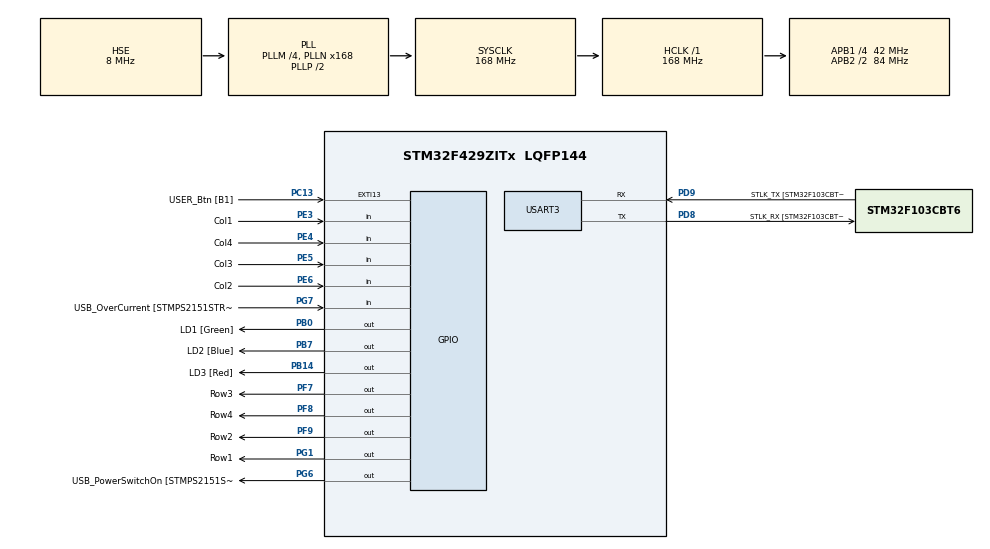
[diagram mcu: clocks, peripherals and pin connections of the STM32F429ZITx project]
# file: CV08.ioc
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Mcu.Family=STM32F4
Mcu.Name=STM32F429ZITx
Mcu.Package=LQFP144
NVIC.PriorityGroup=NVIC_PRIORITYGROUP_4
NVIC.TIM3_IRQn=true\:0\:0\:false\:false\:true\:true\:true\:true
PA1.GPIO_Label=RMII_REF_CLK [LAN8742A-CZ-TR_REFCLK0]
PA1.Signal=ETH_REF_CLK
PA10.GPIO_Label=USB_ID
PA10.Signal=USB_OTG_FS_ID
PA11.GPIO_Label=USB_DM
PA11.Signal=USB_OTG_FS_DM
PA12.GPIO_Label=USB_DP
PA12.Signal=USB_OTG_FS_DP
PA13.GPIO_Label=TMS
PA13.Mode=Serial_Wire
PA13.Signal=SYS_JTMS-SWDIO
PA14.GPIO_Label=TCK
PA14.Mode=Serial_Wire
PA14.Signal=SYS_JTCK-SWCLK
PA2.GPIO_Label=RMII_MDIO [LAN8742A-CZ-TR_MDIO]
PA2.Signal=ETH_MDIO
PA7.GPIO_Label=RMII_CRS_DV [LAN8742A-CZ-TR_CRS_DV]
PA7.Signal=ETH_CRS_DV
PA8.GPIO_Label=USB_SOF [TP1]
PA8.Signal=USB_OTG_FS_SOF
PA9.GPIO_Label=USB_VBUS
PA9.Signal=USB_OTG_FS_VBUS
PB0.GPIO_Label=LD1 [Green]
PB0.Signal=GPIO_Output
PB13.GPIO_Label=RMII_TXD1 [LAN8742A-CZ-TR_TXD1]
PB13.Signal=ETH_TXD1
PB14.GPIO_Label=LD3 [Red]
PB14.Signal=GPIO_Output
PB7.GPIO_Label=LD2 [Blue]
PB7.Signal=GPIO_Output
PC1.GPIO_Label=RMII_MDC [LAN8742A-CZ-TR_MDC]
PC1.Signal=ETH_MDC
PC13.GPIO_Label=USER_Btn [B1]
PC13.Signal=GPXTI13
PC14/OSC32_IN.Mode=LSE-External-Oscillator
PC14/OSC32_IN.Signal=RCC_OSC32_IN
PC15/OSC32_OUT.Mode=LSE-External-Oscillator
PC15/OSC32_OUT.Signal=RCC_OSC32_OUT
PC4.GPIO_Label=RMII_RXD0 [LAN8742A-CZ-TR_RXD0]
PC4.Signal=ETH_RXD0
PC5.GPIO_Label=RMII_RXD1 [LAN8742A-CZ-TR_RXD1]
PC5.Signal=ETH_RXD1
PD8.GPIO_Label=STLK_RX [STM32F103CBT6_PA3]
PD8.Mode=Asynchronous
PD8.Signal=USART3_TX
PD9.GPIO_Label=STLK_TX [STM32F103CBT6_PA2]
PD9.Mode=Asynchronous
PD9.Signal=USART3_RX
PE3.GPIO_Label=Col1
PE3.GPIO_PuPd=GPIO_PULLUP
PE3.Signal=GPIO_Input
PE4.GPIO_Label=Col4
PE4.GPIO_PuPd=GPIO_PULLUP
PE4.Signal=GPIO_Input
PE5.GPIO_Label=Col3
PE5.GPIO_PuPd=GPIO_PULLUP
PE5.Signal=GPIO_Input
PE6.GPIO_Label=Col2
PE6.GPIO_PuPd=GPIO_PULLUP
PE6.Signal=GPIO_Input
PF7.GPIO_Label=Row3
PF7.GPIO_ModeDefaultOutputPP=GPIO_MODE_OUTPUT_OD
PF7.GPIO_PuPd=GPIO_NOPULL
PF7.Signal=GPIO_Output
PF8.GPIO_Label=Row4
PF8.GPIO_ModeDefaultOutputPP=GPIO_MODE_OUTPUT_OD
PF8.GPIO_PuPd=GPIO_NOPULL
PF8.Signal=GPIO_Output
PF9.GPIO_Label=Row2
PF9.GPIO_ModeDefaultOutputPP=GPIO_MODE_OUTPUT_OD
PF9.GPIO_PuPd=GPIO_NOPULL
PF9.Signal=GPIO_Output
PG1.GPIO_Label=Row1
PG1.GPIO_ModeDefaultOutputPP=GPIO_MODE_OUTPUT_OD
PG1.GPIO_PuPd=GPIO_NOPULL
PG1.Signal=GPIO_Output
PG11.GPIO_Label=RMII_TX_EN [LAN8742A-CZ-TR_TXEN]
PG11.Signal=ETH_TX_EN
PG13.GPIO_Label=RMII_TXD0 [LAN8742A-CZ-TR_TXD0]
PG13.Signal=ETH_TXD0
PG6.GPIO_Label=USB_PowerSwitchOn [STMPS2151STR_EN]
PG6.Signal=GPIO_Output
PG7.GPIO_Label=USB_OverCurrent [STMPS2151STR_FAULT]
PG7.Signal=GPIO_Input
PH0/OSC_IN.GPIO_Label=MCO [STM32F103CBT6_PA8]
PH0/OSC_IN.Mode=HSE-External-Clock-Source
PH0/OSC_IN.Signal=RCC_OSC_IN
PH1/OSC_OUT.Mode=HSE-External-Clock-Source
PH1/OSC_OUT.Signal=RCC_OSC_OUT
ProjectManager.HeapSize=0x200
ProjectManager.StackSize=0x400
ProjectManager.TargetToolchain=STM32CubeIDE
RCC.48MHZClocksFreq_Value=48000000
RCC.AHBFreq_Value=168000000
RCC.APB1CLKDivider=RCC_HCLK_DIV4
RCC.APB1Freq_Value=42000000
RCC.APB1TimFreq_Value=84000000
RCC.APB2CLKDivider=RCC_HCLK_DIV2
RCC.APB2Freq_Value=84000000
RCC.APB2TimCLKDivider=2
RCC.APB2TimFreq_Value=168000000
RCC.CortexFreq_Value=168000000
RCC.HCLKFreq_Value=168000000
RCC.HSE_VALUE=8000000
RCC.HSI_VALUE=16000000
RCC.PLLM=4
RCC.PLLMUL=RCC_PLL_MUL9
RCC.PLLN=168
RCC.PLLQ=7
RCC.PLLSourceVirtual=RCC_PLLSOURCE_HSE
RCC.PRESCALERUSB=RCC_USBCLKSOURCE_PLL_DIV1_5
RCC.SYSCLKFreq_VALUE=168000000
RCC.SYSCLKSource=RCC_SYSCLKSOURCE_PLLCLK
RCC.SYSCLKSourceVirtual=RCC_SYSCLKSOURCE_PLLCLK
RCC.USBFreq_Value=48000000
RCC.VCOOutputFreq_Value=336000000
TIM3.AutoReloadPreload=TIM_AUTORELOAD_PRELOAD_ENABLE
TIM3.Period=99
TIM3.Prescaler=8399
USART3.VirtualMode=VM_ASYNC
VP_TIM3_VS_ClockSourceINT.Mode=Internal
board=NUCLEO-F429ZI

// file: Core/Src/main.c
/* USER CODE BEGIN Header */
/**
 ******************************************************************************
 * @file           : main.c
 * @brief          : Main program body
 ******************************************************************************
 * @attention
 *
 * Copyright (c) 2024 STMicroelectronics.
 * All rights reserved.
 *
 * This software is licensed under terms that can be found in the LICENSE file
 * in the root directory of this software component.
 * If no LICENSE file comes with this software, it is provided AS-IS.
 *
 ******************************************************************************
 */
/* USER CODE END Header */
#include "main.h"

/* USER CODE BEGIN Includes */
#include <stdio.h>
/* USER CODE END Includes */

TIM_HandleTypeDef htim3;

UART_HandleTypeDef huart3;

/* USER CODE BEGIN PV */
static volatile char key;
static volatile char password[5] =  { '7', '9', '3', '2', '#' };
/* USER CODE END PV */

void SystemClock_Config(void);
static void MX_GPIO_Init(void);
static void MX_USART3_UART_Init(void);
static void MX_TIM3_Init(void);

/* USER CODE BEGIN 0 */
int __io_putchar(int ch)
{
	ITM_SendChar(ch);
	return 0;
}
/* USER CODE END 0 */

int main(void)
{

	/* MCU Configuration--------------------------------------------------------*/

	/* Reset of all peripherals, Initializes the Flash interface and the Systick. */
	HAL_Init();

	/* Configure the system clock */
	SystemClock_Config();

	/* Initialize all configured peripherals */
	MX_GPIO_Init();
	MX_USART3_UART_Init();
	MX_TIM3_Init();
	/* USER CODE BEGIN 2 */
	HAL_TIM_Base_Start_IT(&htim3);
	printf("rReady for password\n");
	/* USER CODE END 2 */

	/* Infinite loop */
	while (1)
	{

		/* USER CODE BEGIN 3 */

		static uint8_t pass_pos;
		static uint8_t entries;
		static uint32_t delay = 0;

		if (key != 0)
		{
			entries++;
			printf("Pressed '%c'\n", key);
			HAL_Delay(250);
			delay = HAL_GetTick();

			if (key == password[pass_pos])
			{
				pass_pos++;
			}
			else
			{
				pass_pos = 0;
			}

			if (entries >= sizeof(password) && pass_pos < sizeof(password)-1)
			{
				printf("Password incorrect :(  Try again.\n");
				entries = 0;
			}

			if (pass_pos >= sizeof(password))
			{
				printf("Password correct!\n");
				HAL_GPIO_WritePin(LD1_GPIO_Port, LD1_Pin, 1);
				HAL_Delay(1000);
				HAL_GPIO_WritePin(LD1_GPIO_Port, LD1_Pin, 0);
				pass_pos = 0;
				entries = 0;
			}
			key = 0;
		}

		if ((HAL_GetTick() > delay + 3000) && (entries != 0))
		{
			printf("Timeout - Password reseted\n");
			pass_pos = 0;
			entries = 0;
		}

	}
	/* USER CODE END 3 */
}

void SystemClock_Config(void)
{
	RCC_OscInitTypeDef RCC_OscInitStruct = {0};
	RCC_ClkInitTypeDef RCC_ClkInitStruct = {0};

	/** Configure the main internal regulator output voltage
	 */
	__HAL_RCC_PWR_CLK_ENABLE();
	__HAL_PWR_VOLTAGESCALING_CONFIG(PWR_REGULATOR_VOLTAGE_SCALE1);

	/** Initializes the RCC Oscillators according to the specified parameters
	 * in the RCC_OscInitTypeDef structure.
	 */
	RCC_OscInitStruct.OscillatorType = RCC_OSCILLATORTYPE_HSE;
	RCC_OscInitStruct.HSEState = RCC_HSE_BYPASS;
	RCC_OscInitStruct.PLL.PLLState = RCC_PLL_ON;
	RCC_OscInitStruct.PLL.PLLSource = RCC_PLLSOURCE_HSE;
	RCC_OscInitStruct.PLL.PLLM = 4;
	RCC_OscInitStruct.PLL.PLLN = 168;
	RCC_OscInitStruct.PLL.PLLP = RCC_PLLP_DIV2;
	RCC_OscInitStruct.PLL.PLLQ = 7;
	if (HAL_RCC_OscConfig(&RCC_OscInitStruct) != HAL_OK)
	{
		Error_Handler();
	}

	/** Initializes the CPU, AHB and APB buses clocks
	 */
	RCC_ClkInitStruct.ClockType = RCC_CLOCKTYPE_HCLK|RCC_CLOCKTYPE_SYSCLK
			|RCC_CLOCKTYPE_PCLK1|RCC_CLOCKTYPE_PCLK2;
	RCC_ClkInitStruct.SYSCLKSource = RCC_SYSCLKSOURCE_PLLCLK;
	RCC_ClkInitStruct.AHBCLKDivider = RCC_SYSCLK_DIV1;
	RCC_ClkInitStruct.APB1CLKDivider = RCC_HCLK_DIV4;
	RCC_ClkInitStruct.APB2CLKDivider = RCC_HCLK_DIV2;

	if (HAL_RCC_ClockConfig(&RCC_ClkInitStruct, FLASH_LATENCY_5) != HAL_OK)
	{
		Error_Handler();
	}
}

static void MX_TIM3_Init(void)
{

	TIM_ClockConfigTypeDef sClockSourceConfig = {0};
	TIM_MasterConfigTypeDef sMasterConfig = {0};

	htim3.Instance = TIM3;
	htim3.Init.Prescaler = 8399;
	htim3.Init.CounterMode = TIM_COUNTERMODE_UP;
	htim3.Init.Period = 99;
	htim3.Init.ClockDivision = TIM_CLOCKDIVISION_DIV1;
	htim3.Init.AutoReloadPreload = TIM_AUTORELOAD_PRELOAD_ENABLE;
	if (HAL_TIM_Base_Init(&htim3) != HAL_OK)
	{
		Error_Handler();
	}
	sClockSourceConfig.ClockSource = TIM_CLOCKSOURCE_INTERNAL;
	if (HAL_TIM_ConfigClockSource(&htim3, &sClockSourceConfig) != HAL_OK)
	{
		Error_Handler();
	}
	sMasterConfig.MasterOutputTrigger = TIM_TRGO_RESET;
	sMasterConfig.MasterSlaveMode = TIM_MASTERSLAVEMODE_DISABLE;
	if (HAL_TIMEx_MasterConfigSynchronization(&htim3, &sMasterConfig) != HAL_OK)
	{
		Error_Handler();
	}

}

static void MX_USART3_UART_Init(void)
{

	huart3.Instance = USART3;
	huart3.Init.BaudRate = 115200;
	huart3.Init.WordLength = UART_WORDLENGTH_8B;
	huart3.Init.StopBits = UART_STOPBITS_1;
	huart3.Init.Parity = UART_PARITY_NONE;
	huart3.Init.Mode = UART_MODE_TX_RX;
	huart3.Init.HwFlowCtl = UART_HWCONTROL_NONE;
	huart3.Init.OverSampling = UART_OVERSAMPLING_16;
	if (HAL_UART_Init(&huart3) != HAL_OK)
	{
		Error_Handler();
	}

}

static void MX_GPIO_Init(void)
{
	GPIO_InitTypeDef GPIO_InitStruct = {0};

	/* GPIO Ports Clock Enable */
	__HAL_RCC_GPIOE_CLK_ENABLE();
	__HAL_RCC_GPIOC_CLK_ENABLE();
	__HAL_RCC_GPIOF_CLK_ENABLE();
	__HAL_RCC_GPIOH_CLK_ENABLE();
	__HAL_RCC_GPIOA_CLK_ENABLE();
	__HAL_RCC_GPIOB_CLK_ENABLE();
	__HAL_RCC_GPIOG_CLK_ENABLE();
	__HAL_RCC_GPIOD_CLK_ENABLE();

	/*Configure GPIO pin Output Level */
	HAL_GPIO_WritePin(GPIOF, Row3_Pin|Row4_Pin|Row2_Pin, GPIO_PIN_RESET);

	/*Configure GPIO pin Output Level */
	HAL_GPIO_WritePin(GPIOB, LD1_Pin|LD3_Pin|LD2_Pin, GPIO_PIN_RESET);

	/*Configure GPIO pin Output Level */
	HAL_GPIO_WritePin(GPIOG, Row1_Pin|USB_PowerSwitchOn_Pin, GPIO_PIN_RESET);

	/*Configure GPIO pins : Col1_Pin Col4_Pin Col3_Pin Col2_Pin */
	GPIO_InitStruct.Pin = Col1_Pin|Col4_Pin|Col3_Pin|Col2_Pin;
	GPIO_InitStruct.Mode = GPIO_MODE_INPUT;
	GPIO_InitStruct.Pull = GPIO_PULLUP;
	HAL_GPIO_Init(GPIOE, &GPIO_InitStruct);

	/*Configure GPIO pin : USER_Btn_Pin */
	GPIO_InitStruct.Pin = USER_Btn_Pin;
	GPIO_InitStruct.Mode = GPIO_MODE_IT_RISING;
	GPIO_InitStruct.Pull = GPIO_NOPULL;
	HAL_GPIO_Init(USER_Btn_GPIO_Port, &GPIO_InitStruct);

	/*Configure GPIO pins : Row3_Pin Row4_Pin Row2_Pin */
	GPIO_InitStruct.Pin = Row3_Pin|Row4_Pin|Row2_Pin;
	GPIO_InitStruct.Mode = GPIO_MODE_OUTPUT_OD;
	GPIO_InitStruct.Pull = GPIO_NOPULL;
	GPIO_InitStruct.Speed = GPIO_SPEED_FREQ_LOW;
	HAL_GPIO_Init(GPIOF, &GPIO_InitStruct);

	/*Configure GPIO pins : RMII_MDC_Pin RMII_RXD0_Pin RMII_RXD1_Pin */
	GPIO_InitStruct.Pin = RMII_MDC_Pin|RMII_RXD0_Pin|RMII_RXD1_Pin;
	GPIO_InitStruct.Mode = GPIO_MODE_AF_PP;
	GPIO_InitStruct.Pull = GPIO_NOPULL;
	GPIO_InitStruct.Speed = GPIO_SPEED_FREQ_VERY_HIGH;
	GPIO_InitStruct.Alternate = GPIO_AF11_ETH;
	HAL_GPIO_Init(GPIOC, &GPIO_InitStruct);

	/*Configure GPIO pins : RMII_REF_CLK_Pin RMII_MDIO_Pin RMII_CRS_DV_Pin */
	GPIO_InitStruct.Pin = RMII_REF_CLK_Pin|RMII_MDIO_Pin|RMII_CRS_DV_Pin;
	GPIO_InitStruct.Mode = GPIO_MODE_AF_PP;
	GPIO_InitStruct.Pull = GPIO_NOPULL;
	GPIO_InitStruct.Speed = GPIO_SPEED_FREQ_VERY_HIGH;
	GPIO_InitStruct.Alternate = GPIO_AF11_ETH;
	HAL_GPIO_Init(GPIOA, &GPIO_InitStruct);

	/*Configure GPIO pins : LD1_Pin LD3_Pin LD2_Pin */
	GPIO_InitStruct.Pin = LD1_Pin|LD3_Pin|LD2_Pin;
	GPIO_InitStruct.Mode = GPIO_MODE_OUTPUT_PP;
	GPIO_InitStruct.Pull = GPIO_NOPULL;
	GPIO_InitStruct.Speed = GPIO_SPEED_FREQ_LOW;
	HAL_GPIO_Init(GPIOB, &GPIO_InitStruct);

	/*Configure GPIO pin : Row1_Pin */
	GPIO_InitStruct.Pin = Row1_Pin;
	GPIO_InitStruct.Mode = GPIO_MODE_OUTPUT_OD;
	GPIO_InitStruct.Pull = GPIO_NOPULL;
	GPIO_InitStruct.Speed = GPIO_SPEED_FREQ_LOW;
	HAL_GPIO_Init(Row1_GPIO_Port, &GPIO_InitStruct);

	/*Configure GPIO pin : RMII_TXD1_Pin */
	GPIO_InitStruct.Pin = RMII_TXD1_Pin;
	GPIO_InitStruct.Mode = GPIO_MODE_AF_PP;
	GPIO_InitStruct.Pull = GPIO_NOPULL;
	GPIO_InitStruct.Speed = GPIO_SPEED_FREQ_VERY_HIGH;
	GPIO_InitStruct.Alternate = GPIO_AF11_ETH;
	HAL_GPIO_Init(RMII_TXD1_GPIO_Port, &GPIO_InitStruct);

	/*Configure GPIO pin : USB_PowerSwitchOn_Pin */
	GPIO_InitStruct.Pin = USB_PowerSwitchOn_Pin;
	GPIO_InitStruct.Mode = GPIO_MODE_OUTPUT_PP;
	GPIO_InitStruct.Pull = GPIO_NOPULL;
	GPIO_InitStruct.Speed = GPIO_SPEED_FREQ_LOW;
	HAL_GPIO_Init(USB_PowerSwitchOn_GPIO_Port, &GPIO_InitStruct);

	/*Configure GPIO pin : USB_OverCurrent_Pin */
	GPIO_InitStruct.Pin = USB_OverCurrent_Pin;
	GPIO_InitStruct.Mode = GPIO_MODE_INPUT;
	GPIO_InitStruct.Pull = GPIO_NOPULL;
	HAL_GPIO_Init(USB_OverCurrent_GPIO_Port, &GPIO_InitStruct);

	/*Configure GPIO pins : USB_SOF_Pin USB_ID_Pin USB_DM_Pin USB_DP_Pin */
	GPIO_InitStruct.Pin = USB_SOF_Pin|USB_ID_Pin|USB_DM_Pin|USB_DP_Pin;
	GPIO_InitStruct.Mode = GPIO_MODE_AF_PP;
	GPIO_InitStruct.Pull = GPIO_NOPULL;
	GPIO_InitStruct.Speed = GPIO_SPEED_FREQ_VERY_HIGH;
	GPIO_InitStruct.Alternate = GPIO_AF10_OTG_FS;
	HAL_GPIO_Init(GPIOA, &GPIO_InitStruct);

	/*Configure GPIO pin : USB_VBUS_Pin */
	GPIO_InitStruct.Pin = USB_VBUS_Pin;
	GPIO_InitStruct.Mode = GPIO_MODE_INPUT;
	GPIO_InitStruct.Pull = GPIO_NOPULL;
	HAL_GPIO_Init(USB_VBUS_GPIO_Port, &GPIO_InitStruct);

	/*Configure GPIO pins : RMII_TX_EN_Pin RMII_TXD0_Pin */
	GPIO_InitStruct.Pin = RMII_TX_EN_Pin|RMII_TXD0_Pin;
	GPIO_InitStruct.Mode = GPIO_MODE_AF_PP;
	GPIO_InitStruct.Pull = GPIO_NOPULL;
	GPIO_InitStruct.Speed = GPIO_SPEED_FREQ_VERY_HIGH;
	GPIO_InitStruct.Alternate = GPIO_AF11_ETH;
	HAL_GPIO_Init(GPIOG, &GPIO_InitStruct);

}

/* USER CODE BEGIN 4 */
void HAL_TIM_PeriodElapsedCallback(TIM_HandleTypeDef *htim)
{
	static uint8_t row = 0;
	static const char keyboard[4][4] = {
			{ '1', '2', '3', 'A' },
			{ '4', '5', '6', 'B' },
			{ '7', '8', '9', 'C' },
			{ '*', '0', '#', 'D' },
	};

	if (key == 0) {
		if (HAL_GPIO_ReadPin(Col1_GPIO_Port, Col1_Pin) == GPIO_PIN_RESET) {
			key = keyboard[row][0];
		}
		if (HAL_GPIO_ReadPin(Col2_GPIO_Port, Col2_Pin) == GPIO_PIN_RESET) {
			key = keyboard[row][1];
		}
		if (HAL_GPIO_ReadPin(Col3_GPIO_Port, Col3_Pin) == GPIO_PIN_RESET) {
			key = keyboard[row][2];
		}
		if (HAL_GPIO_ReadPin(Col4_GPIO_Port, Col4_Pin) == GPIO_PIN_RESET) {
			key = keyboard[row][3];
		}
	}
	HAL_GPIO_WritePin(Row1_GPIO_Port, Row1_Pin, GPIO_PIN_SET);
	HAL_GPIO_WritePin(Row2_GPIO_Port, Row2_Pin, GPIO_PIN_SET);
	HAL_GPIO_WritePin(Row3_GPIO_Port, Row3_Pin, GPIO_PIN_SET);
	HAL_GPIO_WritePin(Row4_GPIO_Port, Row4_Pin, GPIO_PIN_SET);
	switch (row)
	{
	case 0:
		row = 1;
		HAL_GPIO_WritePin(Row2_GPIO_Port, Row2_Pin, GPIO_PIN_RESET);
		break;
	case 1:
		row = 2;
		HAL_GPIO_WritePin(Row3_GPIO_Port, Row3_Pin, GPIO_PIN_RESET);
		break;
	case 2:
		row = 3;
		HAL_GPIO_WritePin(Row4_GPIO_Port, Row4_Pin, GPIO_PIN_RESET);
		break;
	case 3:
		row = 0;
		HAL_GPIO_WritePin(Row1_GPIO_Port, Row1_Pin, GPIO_PIN_RESET);
		break;
	}
}

/* USER CODE END 4 */

void Error_Handler(void)
{
	__disable_irq();
	while (1)
	{
	}
}
